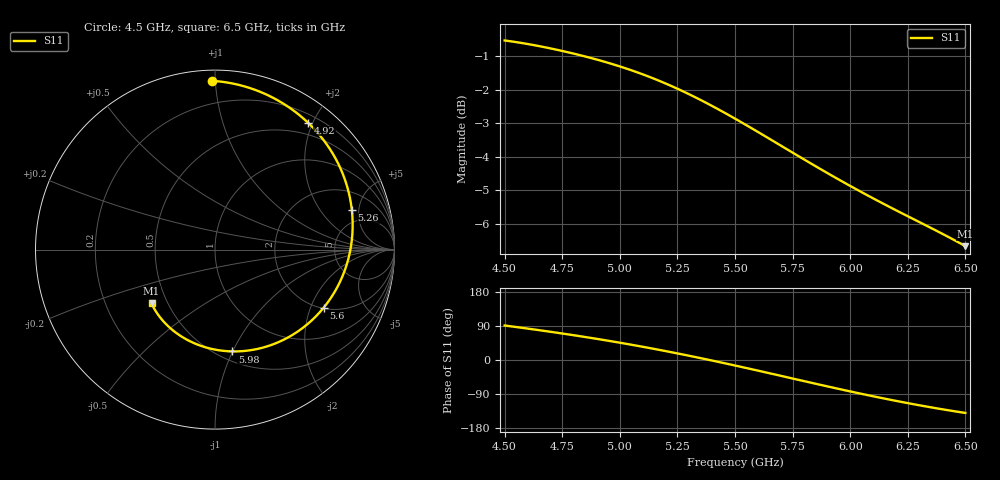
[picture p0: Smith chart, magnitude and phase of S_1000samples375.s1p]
! TOUCHSTONE file generated by CST MICROWAVE STUDIO
! Date and time: Thu Oct 27 23:00:58 2022
! Project name: L.cst
! Parameters = {Di=1.27; Epsilon_r=1.56; InnerDiameter=1.27; Length=2; Lf=10; Lg=60; OuterConductorThickness=0.2921; OuterDiameter=3.6; Wf=3; Wp=41.2; de=1.5; df=6.8; g=0.8; gx=3.92134; gy=3.33365; h=2.34; hf=1.524; px=13.0989; py=9.80783; w=9.7; wx=9.17751; wy=6.47418}
! Header version: 2018
! Port assignment regex: !\s*Touchstone port\s*([0-9]+)\s*=\s*(CST MWS port|CST DS port)\s*([0-9]+|Zmin|Zmax)\s*\(\"(.*)\"\)(\s*mode\s*([0-9]+))?.*
! Touchstone port assignment:
! Touchstone port 1 = CST MWS port 1 ("")
# GHz S DB R 50
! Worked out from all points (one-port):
!   101 points, 4.5 GHz to 6.5 GHz, reference 50 ohm
!   lowest |S11| = -6.7 dB at 6.5 GHz (marker M1), VSWR 2.73, Z = 20.4 - j15.6 ohm
!   |S11| at or under -10 dB: nowhere
!   S11 on the Smith chart (normalised r, x): 4.5 GHz: 0.06, +0.98; 4.92 GHz: 0.32, +1.93; 5.26 GHz: 3.51, +4.20; 5.6 GHz: 2.03, -2.49; 5.98 GHz: 0.59, -1.00; 6.5 GHz: 0.41, -0.31
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4.5  -0.53 91.0
4.58  -0.62 84.6
4.64  -0.69 79.5
4.76  -0.86 69.0
4.84  -1.00 61.6
4.92  -1.14 53.8
5  -1.31 45.6
5.08  -1.50 37.0
5.14  -1.65 30.3
5.2  -1.82 23.4
5.26  -2.01 16.2
5.32  -2.20 8.8
5.38  -2.41 1.2
5.44  -2.64 -6.6
5.5  -2.87 -14.6
5.6  -3.27 -28.1
5.68  -3.59 -39.1
5.76  -3.92 -50.2
5.86  -4.33 -64.0
5.92  -4.57 -72.2
5.98  -4.80 -80.3
6  -4.87 -82.9
6.06  -5.10 -90.7
6.12  -5.32 -98.3
6.2  -5.60 -108.0
6.26  -5.81 -115.0
6.38  -6.23 -128.0
6.5  -6.67 -139.7
